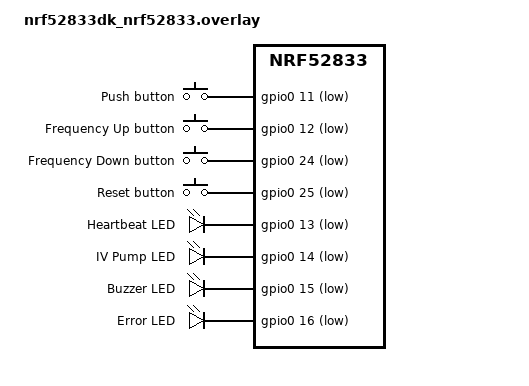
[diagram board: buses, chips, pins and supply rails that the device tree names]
/ {
	aliases {
        // add your aliases here; examples:
                heartbeat = &led0;  // this corresponds to LED1 on the board
                ivpump = &led1;
                buzzer = &led2;
                error = &led3;

                sleepbutton = &button0;  // this corresponds to SW1 on the board
                frequpbutton = &button1;
                freqdownbutton = &button2;
                resetbutton = &button3;
	};

        buttons {
                compatible = "gpio-keys";
                sleepbutton: button_0 {
                gpios = <&gpio0 11 (GPIO_PULL_UP | GPIO_ACTIVE_LOW)>;
                label = "Push button";
                };
                frequpbutton: button_1 {
                gpios = <&gpio0 12 (GPIO_PULL_UP | GPIO_ACTIVE_LOW)>;
                label = "Frequency Up button";
                };
                freqdownbutton: button_2 {
                gpios = <&gpio0 24 (GPIO_PULL_UP | GPIO_ACTIVE_LOW)>;
                label = "Frequency Down button";    
                };

                resetbutton: button_3 {
                gpios = <&gpio0 25 (GPIO_PULL_UP | GPIO_ACTIVE_LOW)>;
                label = "Reset button";
                };
        };

        leds {
                compatible = "gpio-leds";
                heartbeat: led_0 {
                gpios = <&gpio0 13 GPIO_ACTIVE_LOW>;
                label = "Heartbeat LED";
                };
                ivpump: led_1 {
                gpios = <&gpio0 14 GPIO_ACTIVE_LOW>;
                label = "IV Pump LED";
                };
                buzzer: led_2 {
                gpios = <&gpio0 15 GPIO_ACTIVE_LOW>;
                label = "Buzzer LED";
                };
                error: led_3 {
                gpios = <&gpio0 16 GPIO_ACTIVE_LOW>;
                label = "Error LED";
                };
        };
};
